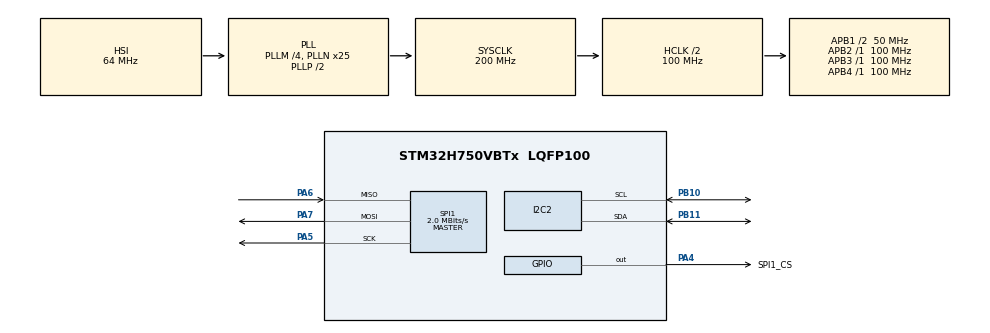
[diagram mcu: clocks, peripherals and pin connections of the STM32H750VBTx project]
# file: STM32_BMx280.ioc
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Mcu.Family=STM32H7
PA6.Mode=Full_Duplex_Master
RCC.CortexFreq_Value=200000000
SPI1.VirtualType=VM_MASTER
RCC.HPRE=RCC_HCLK_DIV2
PB10.Mode=I2C
RCC.PLLFRACN=0
I2C2.Timing=0x00C0EAFF
PA7.GPIO_Mode=GPIO_MODE_AF_PP
RCC.PLL2FRACN=0
PB11.Signal=I2C2_SDA
RCC.SYSCLKSource=RCC_SYSCLKSOURCE_PLLCLK
ProjectManager.StackSize=0x400
PA6.GPIO_Mode=GPIO_MODE_AF_PP
RCC.SPI123CLockSelection=RCC_SPI123CLKSOURCE_CLKP
PA14\ (JTCK/SWCLK).Signal=DEBUG_JTCK-SWCLK
SPI1.CLKPolarity=SPI_POLARITY_HIGH
SPI1.Direction=SPI_DIRECTION_2LINES
RCC.HCLKFreq_Value=100000000
SPI1.CalculateBaudRate=2.0 MBits/s
RCC.DIVM1=4
PA4.GPIO_Speed=GPIO_SPEED_FREQ_HIGH
PA6.GPIO_PuPd=GPIO_PULLDOWN
PA5.GPIO_PuPd=GPIO_NOPULL
SPI1.DataSize=SPI_DATASIZE_8BIT
PA14\ (JTCK/SWCLK).Mode=Trace_Asynchronous_SW
RCC.APB3Freq_Value=100000000
Mcu.Package=LQFP100
PA6.Signal=SPI1_MISO
RCC.PLL3FRACN=0
RCC.APB4Freq_Value=100000000
PA6.GPIO_Speed=GPIO_SPEED_FREQ_HIGH
SPI1.BaudRatePrescaler=SPI_BAUDRATEPRESCALER_32
PA4.GPIO_Label=SPI1_CS
PA5.Mode=Full_Duplex_Master
RCC.DIVQ1=4
PA7.Mode=Full_Duplex_Master
PA13\ (JTMS/SWDIO).Mode=Trace_Asynchronous_SW
RCC.D2PPRE1=RCC_APB1_DIV2
SPI1.CLKPhase=SPI_PHASE_2EDGE
PB11.Mode=I2C
PB3\ (JTDO/TRACESWO).Signal=DEBUG_JTDO-SWO
ProjectManager.TargetToolchain=STM32CubeIDE
RCC.DIVN1=25
RCC.USBFreq_Value=100000000
PA7.GPIO_PuPd=GPIO_PULLDOWN
PB10.Signal=I2C2_SCL
PA5.Signal=SPI1_SCK
board=custom
PA7.GPIO_Speed=GPIO_SPEED_FREQ_HIGH
RCC.APB2Freq_Value=100000000
SPI1.Mode=SPI_MODE_MASTER
RCC.ADCFreq_Value=129000000
Mcu.Name=STM32H750VBTx
SPI1.NSSPMode=SPI_NSS_PULSE_DISABLE
PA4.Signal=GPIO_Output
RCC.SYSCLKFreq_VALUE=200000000
ProjectManager.HeapSize=0x200
PA5.GPIO_Speed=GPIO_SPEED_FREQ_HIGH
NVIC.PriorityGroup=NVIC_PRIORITYGROUP_4
PB3\ (JTDO/TRACESWO).Mode=Trace_Asynchronous_SW
RCC.APB1Freq_Value=50000000
PA5.GPIO_Mode=GPIO_MODE_AF_PP
PA13\ (JTMS/SWDIO).Signal=DEBUG_JTMS-SWDIO
PA7.Signal=SPI1_MOSI

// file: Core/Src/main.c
/* USER CODE BEGIN Header */
/**
  ******************************************************************************
  * @file           : main.c
  * @brief          : Main program body
  ******************************************************************************
  * @attention
  *
  * <h2><center>&copy; Copyright (c) 2021 STMicroelectronics.
  * All rights reserved.</center></h2>
  *
  * This software component is licensed by ST under BSD 3-Clause license,
  * the "License"; You may not use this file except in compliance with the
  * License. You may obtain a copy of the License at:
  *                        opensource.org/licenses/BSD-3-Clause
  *
  ******************************************************************************
  */
/* USER CODE END Header */
#include "main.h"
#include "i2c.h"
#include "spi.h"
#include "gpio.h"

/* USER CODE BEGIN Includes */
#include <stdio.h>
#include "bmx280.h"
/* USER CODE END Includes */

/* USER CODE BEGIN PTD */
Dev_HandleTypedef dev;
/* USER CODE END PTD */

void SystemClock_Config(void);
void PeriphCommonClock_Config(void);

/* USER CODE BEGIN 0 */
int __io_putchar(int ch)
{
	ITM_SendChar(ch);
	return ch;
}
/* USER CODE END 0 */

int main(void)
{

  /* MCU Configuration--------------------------------------------------------*/

  /* Reset of all peripherals, Initializes the Flash interface and the Systick. */
  HAL_Init();

  /* Configure the system clock */
  SystemClock_Config();

/* Configure the peripherals common clocks */
  PeriphCommonClock_Config();

  /* Initialize all configured peripherals */
  MX_GPIO_Init();
  MX_SPI1_Init();
  MX_I2C2_Init();
  /* USER CODE BEGIN 2 */
  /* Initialize sensor */
  BMX280_Init(&dev);

  /* Recommended mode of operation: weather monitoring */
  dev.params.osr_h = OVERSAMPLING_1X;
  dev.params.osr_p = OVERSAMPLING_1X;
  dev.params.osr_t = OVERSAMPLING_1X;
  dev.params.filter = FILTER_COEFF_OFF;

  set_sensor_settings(&dev);
  /* USER CODE END 2 */

  /* Infinite loop */
  while (1)
  {

    /* USER CODE BEGIN 3 */
	  set_sensor_mode(&dev, MODE_FORCED);
	  /* waiting period for measurement to complete*/
	  dev.bus_delay(dev.max_delay);
	  /* Get Sensor data */
	  if(get_sensor_data(&dev) == 0)
	  {
		  printf("T: %0.2f\tP: %0.2f\tH: %0.2f\n", dev.data.temperature,
				  dev.data.pressure, dev.data.humidity);
	  }

	  /* sleep 10s till next cycles */
	  dev.bus_delay(10000);
  }
  /* USER CODE END 3 */
}

void SystemClock_Config(void)
{
  RCC_OscInitTypeDef RCC_OscInitStruct = {0};
  RCC_ClkInitTypeDef RCC_ClkInitStruct = {0};

  /** Supply configuration update enable
  */
  HAL_PWREx_ConfigSupply(PWR_LDO_SUPPLY);
  /** Configure the main internal regulator output voltage
  */
  __HAL_PWR_VOLTAGESCALING_CONFIG(PWR_REGULATOR_VOLTAGE_SCALE3);

  while(!__HAL_PWR_GET_FLAG(PWR_FLAG_VOSRDY)) {}
  /** Initializes the RCC Oscillators according to the specified parameters
  * in the RCC_OscInitTypeDef structure.
  */
  RCC_OscInitStruct.OscillatorType = RCC_OSCILLATORTYPE_HSI;
  RCC_OscInitStruct.HSIState = RCC_HSI_DIV1;
  RCC_OscInitStruct.HSICalibrationValue = RCC_HSICALIBRATION_DEFAULT;
  RCC_OscInitStruct.PLL.PLLState = RCC_PLL_ON;
  RCC_OscInitStruct.PLL.PLLSource = RCC_PLLSOURCE_HSI;
  RCC_OscInitStruct.PLL.PLLM = 4;
  RCC_OscInitStruct.PLL.PLLN = 25;
  RCC_OscInitStruct.PLL.PLLP = 2;
  RCC_OscInitStruct.PLL.PLLQ = 4;
  RCC_OscInitStruct.PLL.PLLR = 2;
  RCC_OscInitStruct.PLL.PLLRGE = RCC_PLL1VCIRANGE_3;
  RCC_OscInitStruct.PLL.PLLVCOSEL = RCC_PLL1VCOWIDE;
  RCC_OscInitStruct.PLL.PLLFRACN = 0;
  if (HAL_RCC_OscConfig(&RCC_OscInitStruct) != HAL_OK)
  {
    Error_Handler();
  }
  /** Initializes the CPU, AHB and APB buses clocks
  */
  RCC_ClkInitStruct.ClockType = RCC_CLOCKTYPE_HCLK|RCC_CLOCKTYPE_SYSCLK
                              |RCC_CLOCKTYPE_PCLK1|RCC_CLOCKTYPE_PCLK2
                              |RCC_CLOCKTYPE_D3PCLK1|RCC_CLOCKTYPE_D1PCLK1;
  RCC_ClkInitStruct.SYSCLKSource = RCC_SYSCLKSOURCE_PLLCLK;
  RCC_ClkInitStruct.SYSCLKDivider = RCC_SYSCLK_DIV1;
  RCC_ClkInitStruct.AHBCLKDivider = RCC_HCLK_DIV2;
  RCC_ClkInitStruct.APB3CLKDivider = RCC_APB3_DIV1;
  RCC_ClkInitStruct.APB1CLKDivider = RCC_APB1_DIV2;
  RCC_ClkInitStruct.APB2CLKDivider = RCC_APB2_DIV1;
  RCC_ClkInitStruct.APB4CLKDivider = RCC_APB4_DIV1;

  if (HAL_RCC_ClockConfig(&RCC_ClkInitStruct, FLASH_LATENCY_2) != HAL_OK)
  {
    Error_Handler();
  }
}

void PeriphCommonClock_Config(void)
{
  RCC_PeriphCLKInitTypeDef PeriphClkInitStruct = {0};

  /** Initializes the peripherals clock
  */
  PeriphClkInitStruct.PeriphClockSelection = RCC_PERIPHCLK_CKPER;
  PeriphClkInitStruct.CkperClockSelection = RCC_CLKPSOURCE_HSI;
  if (HAL_RCCEx_PeriphCLKConfig(&PeriphClkInitStruct) != HAL_OK)
  {
    Error_Handler();
  }
}

void Error_Handler(void)
{
  __disable_irq();
  while (1)
  {
  }
}

/************************ (C) COPYRIGHT STMicroelectronics *****END OF FILE****/
